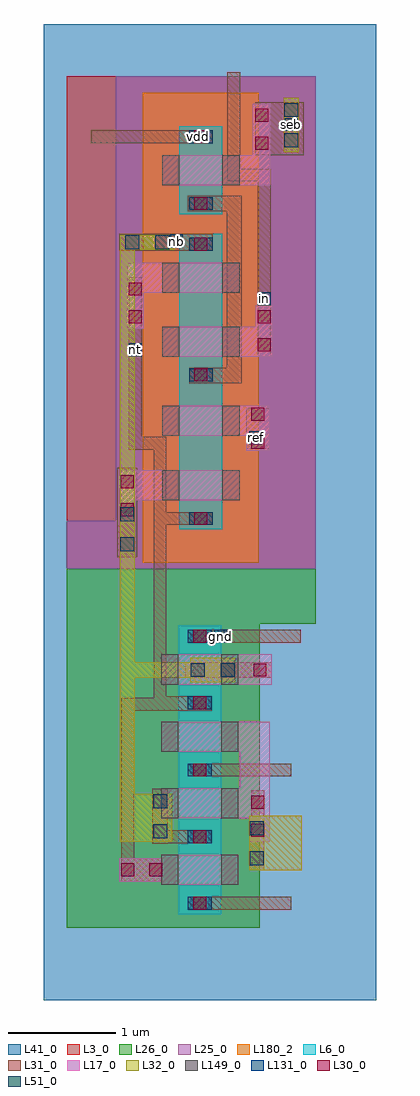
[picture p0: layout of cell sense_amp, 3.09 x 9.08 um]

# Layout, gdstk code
from math import pi, radians
import gdstk
lib = gdstk.Library(unit=1e-6, precision=1e-09)
def R(c, l, rs):  # rectangles x0, y0, x1, y1
    for r in rs: c.add(gdstk.rectangle(r[:2], r[2:], *l))
L3_0 = (3, 0)
L6_0 = (6, 0)
L17_0 = (17, 0)
L25_0 = (25, 0)
L26_0 = (26, 0)
L30_0 = (30, 0)
L31_0 = (31, 0)
L32_0 = (32, 0)
L41_0 = (41, 0)
L51_0 = (51, 0)
L131_0 = (131, 0)
L149_0 = (149, 0)
L180_2 = (180, 2)

pc_ct = lib.new_cell('pc_ct')
R(pc_ct, L30_0, [(0,0,0.12,0.12)])

nsvt25_cdns_576022527390 = lib.new_cell('nsvt25_CDNS_576022527390')
R(nsvt25_cdns_576022527390, L6_0, [(-0.27,0,0,0.4), (-0.27,0,0.55,0.4), (0.28,0,0.55,0.4)])
R(nsvt25_cdns_576022527390, L17_0, [(0,-0.16,0.28,0.56)])
R(nsvt25_cdns_576022527390, L26_0, [(-0.4,-0.36,0.68,0.76)])
R(nsvt25_cdns_576022527390, L31_0, [(-0.23,0.09,-0.11,0.31), (0.39,0.09,0.51,0.31)])
R(nsvt25_cdns_576022527390, L41_0, [(-0.54,-0.34,0.82,0.74)])
R(nsvt25_cdns_576022527390, L131_0, [(-0.23,0.09,-0.11,0.31), (0.39,0.09,0.51,0.31)])
R(nsvt25_cdns_576022527390, L149_0, [(0,-0.16,0.28,0), (0,0.4,0.28,0.56)])
r = gdstk.Reference(pc_ct, (0.39,0.14)); r.repetition = gdstk.Repetition(1, 1, v1=(0.26,0), v2=(0,0.26)); nsvt25_cdns_576022527390.add(r)
r = gdstk.Reference(pc_ct, (-0.23,0.14)); r.repetition = gdstk.Repetition(1, 1, v1=(0.26,0), v2=(0,0.26)); nsvt25_cdns_576022527390.add(r)
nsvt25_cdns_576022527390.add(gdstk.Label('d', (0.28,0), layer=6, texttype=0))
nsvt25_cdns_576022527390.add(gdstk.Label('s', (0,0), layer=6, texttype=0))
nsvt25_cdns_576022527390.add(gdstk.Label('d', (0.415,0.2), layer=127, texttype=0))
nsvt25_cdns_576022527390.add(gdstk.Label('s', (-0.135,0.2), layer=127, texttype=0))
nsvt25_cdns_576022527390.add(gdstk.Label('d', (0.45,0.2), layer=131, texttype=0))
nsvt25_cdns_576022527390.add(gdstk.Label('s', (-0.17,0.2), layer=131, texttype=0))
nsvt25_cdns_576022527390.add(gdstk.Label('g', (0.14,0.48), layer=149, texttype=0))
nsvt25_cdns_576022527390.add(gdstk.Label('g', (0.14,-0.08), layer=149, texttype=0))

psvt25_cdns_576022527391 = lib.new_cell('psvt25_CDNS_576022527391')
R(psvt25_cdns_576022527391, L3_0, [(-0.58,-0.34,0.86,0.74)])
R(psvt25_cdns_576022527391, L6_0, [(-0.27,0,0,0.4), (-0.27,0,0.55,0.4), (0.28,0,0.55,0.4)])
R(psvt25_cdns_576022527391, L17_0, [(0,-0.16,0.28,0.56)])
R(psvt25_cdns_576022527391, L31_0, [(-0.23,0.09,-0.11,0.31)])
R(psvt25_cdns_576022527391, L41_0, [(-0.58,-0.34,0.86,0.74)])
R(psvt25_cdns_576022527391, L131_0, [(-0.23,0.09,-0.11,0.31)])
R(psvt25_cdns_576022527391, L149_0, [(0,-0.16,0.28,0), (0,0.4,0.28,0.56)])
R(psvt25_cdns_576022527391, L180_2, [(-0.58,-0.34,0.86,0.74)])
r = gdstk.Reference(pc_ct, (-0.23,0.14)); r.repetition = gdstk.Repetition(1, 1, v1=(0.26,0), v2=(0,0.26)); psvt25_cdns_576022527391.add(r)
psvt25_cdns_576022527391.add(gdstk.Label('d', (0.28,0), layer=6, texttype=0))
psvt25_cdns_576022527391.add(gdstk.Label('s', (0,0), layer=6, texttype=0))
psvt25_cdns_576022527391.add(gdstk.Label('d', (0.415,0.2), layer=127, texttype=0))
psvt25_cdns_576022527391.add(gdstk.Label('s', (-0.135,0.2), layer=127, texttype=0))
psvt25_cdns_576022527391.add(gdstk.Label('s', (-0.17,0.2), layer=131, texttype=0))
psvt25_cdns_576022527391.add(gdstk.Label('g', (0.14,0.48), layer=149, texttype=0))
psvt25_cdns_576022527391.add(gdstk.Label('g', (0.14,-0.08), layer=149, texttype=0))
psvt25_cdns_576022527391.add(gdstk.Label('b', (0.14,0.2), layer=180, texttype=2))

psvt25_cdns_576022527392 = lib.new_cell('psvt25_CDNS_576022527392')
R(psvt25_cdns_576022527392, L6_0, [(-0.27,0,0,0.4), (-0.27,0,0.55,0.4), (0.28,0,0.55,0.4)])
R(psvt25_cdns_576022527392, L17_0, [(0,-0.16,0.28,0.56)])
R(psvt25_cdns_576022527392, L31_0, [(0.39,0.09,0.51,0.31)])
R(psvt25_cdns_576022527392, L41_0, [(-0.58,-0.34,0.86,0.74)])
R(psvt25_cdns_576022527392, L131_0, [(0.39,0.09,0.51,0.31)])
R(psvt25_cdns_576022527392, L149_0, [(0,-0.16,0.28,0), (0,0.4,0.28,0.56)])
R(psvt25_cdns_576022527392, L180_2, [(-0.58,-0.34,0.86,0.74)])
r = gdstk.Reference(pc_ct, (0.39,0.14)); r.repetition = gdstk.Repetition(1, 1, v1=(0.26,0), v2=(0,0.26)); psvt25_cdns_576022527392.add(r)
psvt25_cdns_576022527392.add(gdstk.Label('d', (0.28,0), layer=6, texttype=0))
psvt25_cdns_576022527392.add(gdstk.Label('s', (0,0), layer=6, texttype=0))
psvt25_cdns_576022527392.add(gdstk.Label('d', (0.415,0.2), layer=127, texttype=0))
psvt25_cdns_576022527392.add(gdstk.Label('s', (-0.135,0.2), layer=127, texttype=0))
psvt25_cdns_576022527392.add(gdstk.Label('d', (0.45,0.2), layer=131, texttype=0))
psvt25_cdns_576022527392.add(gdstk.Label('g', (0.14,0.48), layer=149, texttype=0))
psvt25_cdns_576022527392.add(gdstk.Label('g', (0.14,-0.08), layer=149, texttype=0))
psvt25_cdns_576022527392.add(gdstk.Label('b', (0.14,0.2), layer=180, texttype=2))

psvt25_cdns_576022527393 = lib.new_cell('psvt25_CDNS_576022527393')
R(psvt25_cdns_576022527393, L6_0, [(-0.27,0,0,0.4), (-0.27,0,0.55,0.4), (0.28,0,0.55,0.4)])
R(psvt25_cdns_576022527393, L17_0, [(0,-0.16,0.28,0.56)])
R(psvt25_cdns_576022527393, L31_0, [(-0.23,0.09,-0.11,0.31), (0.39,0.09,0.51,0.31)])
R(psvt25_cdns_576022527393, L41_0, [(-0.58,-0.34,0.86,0.74)])
R(psvt25_cdns_576022527393, L131_0, [(-0.23,0.09,-0.11,0.31), (0.39,0.09,0.51,0.31)])
R(psvt25_cdns_576022527393, L149_0, [(0,-0.16,0.28,0), (0,0.4,0.28,0.56)])
R(psvt25_cdns_576022527393, L180_2, [(-0.58,-0.34,0.86,0.74)])
r = gdstk.Reference(pc_ct, (0.39,0.14)); r.repetition = gdstk.Repetition(1, 1, v1=(0.26,0), v2=(0,0.26)); psvt25_cdns_576022527393.add(r)
r = gdstk.Reference(pc_ct, (-0.23,0.14)); r.repetition = gdstk.Repetition(1, 1, v1=(0.26,0), v2=(0,0.26)); psvt25_cdns_576022527393.add(r)
psvt25_cdns_576022527393.add(gdstk.Label('d', (0.28,0), layer=6, texttype=0))
psvt25_cdns_576022527393.add(gdstk.Label('s', (0,0), layer=6, texttype=0))
psvt25_cdns_576022527393.add(gdstk.Label('d', (0.415,0.2), layer=127, texttype=0))
psvt25_cdns_576022527393.add(gdstk.Label('s', (-0.135,0.2), layer=127, texttype=0))
psvt25_cdns_576022527393.add(gdstk.Label('d', (0.45,0.2), layer=131, texttype=0))
psvt25_cdns_576022527393.add(gdstk.Label('s', (-0.17,0.2), layer=131, texttype=0))
psvt25_cdns_576022527393.add(gdstk.Label('g', (0.14,0.48), layer=149, texttype=0))
psvt25_cdns_576022527393.add(gdstk.Label('g', (0.14,-0.08), layer=149, texttype=0))
psvt25_cdns_576022527393.add(gdstk.Label('b', (0.14,0.2), layer=180, texttype=2))

psvt25_cdns_576022527394 = lib.new_cell('psvt25_CDNS_576022527394')
R(psvt25_cdns_576022527394, L3_0, [(-0.58,-0.34,0.86,0.74)])
R(psvt25_cdns_576022527394, L6_0, [(-0.27,0,0,0.4), (-0.27,0,0.55,0.4), (0.28,0,0.55,0.4)])
R(psvt25_cdns_576022527394, L17_0, [(0,-0.16,0.28,0.56)])
R(psvt25_cdns_576022527394, L41_0, [(-0.58,-0.34,0.86,0.74)])
R(psvt25_cdns_576022527394, L149_0, [(0,-0.16,0.28,0), (0,0.4,0.28,0.56)])
R(psvt25_cdns_576022527394, L180_2, [(-0.58,-0.34,0.86,0.74)])
psvt25_cdns_576022527394.add(gdstk.Label('d', (0.28,0), layer=6, texttype=0))
psvt25_cdns_576022527394.add(gdstk.Label('s', (0,0), layer=6, texttype=0))
psvt25_cdns_576022527394.add(gdstk.Label('d', (0.415,0.2), layer=127, texttype=0))
psvt25_cdns_576022527394.add(gdstk.Label('s', (-0.135,0.2), layer=127, texttype=0))
psvt25_cdns_576022527394.add(gdstk.Label('g', (0.14,0.48), layer=149, texttype=0))
psvt25_cdns_576022527394.add(gdstk.Label('g', (0.14,-0.08), layer=149, texttype=0))
psvt25_cdns_576022527394.add(gdstk.Label('b', (0.14,0.2), layer=180, texttype=2))

nsvt25_cdns_576022527395 = lib.new_cell('nsvt25_CDNS_576022527395')
R(nsvt25_cdns_576022527395, L6_0, [(-0.27,0,0,0.4), (-0.27,0,0.55,0.4), (0.28,0,0.55,0.4)])
R(nsvt25_cdns_576022527395, L17_0, [(0,-0.16,0.28,0.56)])
R(nsvt25_cdns_576022527395, L26_0, [(-0.4,-0.36,0.68,0.76)])
R(nsvt25_cdns_576022527395, L31_0, [(0.39,0.09,0.51,0.31)])
R(nsvt25_cdns_576022527395, L41_0, [(-0.54,-0.34,0.82,0.74)])
R(nsvt25_cdns_576022527395, L131_0, [(0.39,0.09,0.51,0.31)])
R(nsvt25_cdns_576022527395, L149_0, [(0,-0.16,0.28,0), (0,0.4,0.28,0.56)])
r = gdstk.Reference(pc_ct, (0.39,0.14)); r.repetition = gdstk.Repetition(1, 1, v1=(0.26,0), v2=(0,0.26)); nsvt25_cdns_576022527395.add(r)
nsvt25_cdns_576022527395.add(gdstk.Label('d', (0.28,0), layer=6, texttype=0))
nsvt25_cdns_576022527395.add(gdstk.Label('s', (0,0), layer=6, texttype=0))
nsvt25_cdns_576022527395.add(gdstk.Label('d', (0.415,0.2), layer=127, texttype=0))
nsvt25_cdns_576022527395.add(gdstk.Label('s', (-0.135,0.2), layer=127, texttype=0))
nsvt25_cdns_576022527395.add(gdstk.Label('d', (0.45,0.2), layer=131, texttype=0))
nsvt25_cdns_576022527395.add(gdstk.Label('g', (0.14,0.48), layer=149, texttype=0))
nsvt25_cdns_576022527395.add(gdstk.Label('g', (0.14,-0.08), layer=149, texttype=0))

m1__po_cdns_576022527390 = lib.new_cell('M1__PO_CDNS_576022527390')
R(m1__po_cdns_576022527390, L17_0, [(-0.21,-0.11,0.21,0.11)])
R(m1__po_cdns_576022527390, L30_0, [(-0.19,-0.06,-0.07,0.06), (0.07,-0.06,0.19,0.06)])
R(m1__po_cdns_576022527390, L31_0, [(-0.19,-0.11,0.19,0.11)])

m2_m1_g_cdns_57602252739 = lib.new_cell('M2_M1_G_CDNS_576022527391')
R(m2_m1_g_cdns_57602252739, L31_0, [(-0.255,-0.07,0.255,0.07)])
R(m2_m1_g_cdns_57602252739, L32_0, [(-0.255,-0.07,0.255,0.07)])
R(m2_m1_g_cdns_57602252739, L51_0, [(-0.205,-0.065,-0.075,0.065), (0.075,-0.065,0.205,0.065)])

m1__po_cdns_576022527392 = lib.new_cell('M1__PO_CDNS_576022527392')
R(m1__po_cdns_576022527392, L17_0, [(-0.08,-0.24,0.08,0.24)])
R(m1__po_cdns_576022527392, L30_0, [(-0.06,-0.19,0.06,-0.07), (-0.06,0.07,0.06,0.19)])
R(m1__po_cdns_576022527392, L31_0, [(-0.06,-0.24,0.06,0.24)])

m2_m1_s_cdns_57602252739 = lib.new_cell('M2_M1_S_CDNS_576022527393')
R(m2_m1_s_cdns_57602252739, L31_0, [(-0.07,-0.255,0.07,0.255)])
R(m2_m1_s_cdns_57602252739, L32_0, [(-0.115,-0.21,0.115,0.21)])
R(m2_m1_s_cdns_57602252739, L51_0, [(-0.065,-0.205,0.065,-0.075), (-0.065,0.075,0.065,0.205)])

c_m2_m1_s_cdns_57602252739 = lib.new_cell('M2_M1_S_CDNS_576022527394')
R(c_m2_m1_s_cdns_57602252739, L31_0, [(-0.21,-0.115,0.21,0.115)])
R(c_m2_m1_s_cdns_57602252739, L32_0, [(-0.255,-0.07,0.255,0.07)])
R(c_m2_m1_s_cdns_57602252739, L51_0, [(-0.205,-0.065,-0.075,0.065), (0.075,-0.065,0.205,0.065)])

m1__po_cdns_576022527395 = lib.new_cell('M1__PO_CDNS_576022527395')
R(m1__po_cdns_576022527395, L17_0, [(-0.08,-0.11,0.08,0.11)])
R(m1__po_cdns_576022527395, L30_0, [(-0.06,-0.06,0.06,0.06)])
R(m1__po_cdns_576022527395, L31_0, [(-0.06,-0.11,0.06,0.11)])

sense_amp = lib.new_cell('sense_amp')
R(sense_amp, L3_0, [(0,-4.46,2.32,0.125)])
R(sense_amp, L17_0, [(1.86,-7,1.89,-6.98), (1.85,-6.98,1.89,-6.78), (1.6,-5.535,1.91,-5.255), (0.64,-3.82,0.89,-3.54), (1.61,-3.22,1.67,-2.94), (1.75,-2.485,1.76,-2.205), (0.72,-1.89,0.89,-1.61), (0.56,-1.745,0.72,-1.61)])
R(sense_amp, L25_0, [(0,-4.46,2.32,-4.01), (0.46,-4.01,2.32,0.125)])
R(sense_amp, L26_0, [(0,-7.8,1.8,-4.97), (0,-4.97,2.32,-4.46)])
R(sense_amp, L31_0, [(1.17,-5.78,1.35,-5.765), (0.9,-5.66,1.13,-5.65), (0.9,-5.65,1.13,-5.645), (0.47,-4.35,0.66,-3.8), (0.47,-3.8,0.66,-3.52), (1.14,-2.73,1.36,-2.59), (0.49,-1.5,1.36,-1.34), (1.13,-1.13,1.275,-0.99), (1.875,-0.61,1.975,-0.12), (1.975,-0.61,2.205,-0.54), (2.03,-0.61,2.15,-0.54), (1.755,-0.13,1.875,-0.12), (1.495,-0.01,1.616,0.16)])
R(sense_amp, L32_0, [(1.84,-7.265,2.19,-6.755), (0.635,-7,0.755,-6.55), (0.755,-7,0.985,-6.97)])
R(sense_amp, L41_0, [(-0.21,-8.47,2.88,0.61)])
R(sense_amp, L131_0, [(1.375,-5.145,1.495,-5.025), (1.7,-3.3,1.82,-3.18), (0.58,-2.48,0.7,-2.36), (1.78,-2.005,1.9,-1.885), (0.96,-1.47,1.08,-1.35), (1.17,-0.5,1.29,-0.38), (2.03,-0.385,2.15,-0.265)])
sense_amp.add(gdstk.FlexPath([(1.8,-5.4),(1.36,-5.4)], 0.14, ends=(0.11, 0), simple_path=True, layer=31, datatype=0))  # L31_0
sense_amp.add(gdstk.FlexPath([(1.555,-0.795),(1.555,-0.01)], 0.12, ends=(0.06, 0), simple_path=True, layer=31, datatype=0))  # L31_0
sense_amp.add(gdstk.FlexPath([(1.295,-6.33),(2.09,-6.33)], 0.12, ends="flush", simple_path=True, layer=31, datatype=0))  # L31_0
sense_amp.add(gdstk.FlexPath([(1.315,-7.57),(2.09,-7.57)], 0.12, ends="flush", simple_path=True, layer=31, datatype=0))  # L31_0
sense_amp.add(gdstk.FlexPath([(1.84,-0.795),(1.555,-0.795)], 0.12, ends="extended", simple_path=True, layer=31, datatype=0))  # L31_0
sense_amp.add(gdstk.FlexPath([(1.14,-0.44),(0.23,-0.44)], 0.12, ends="flush", simple_path=True, layer=31, datatype=0))  # L31_0
sense_amp.add(gdstk.FlexPath([(1.325,-5.085),(2.18,-5.085)], 0.12, ends="flush", simple_path=True, layer=31, datatype=0))  # L31_0
sense_amp.add(gdstk.FlexPath([(0.87,-5.72),(1.17,-5.72)], 0.12, ends=(0.06, 0), simple_path=True, layer=31, datatype=0))  # L31_0
sense_amp.add(gdstk.FlexPath([(1.84,-2.005),(1.84,-0.795)], 0.12, ends=(0, 0.06), simple_path=True, layer=31, datatype=0))  # L31_0
sense_amp.add(gdstk.FlexPath([(0.87,-3.99),(0.87,-5.72)], 0.12, ends="extended", simple_path=True, layer=31, datatype=0))  # L31_0
sense_amp.add(gdstk.FlexPath([(1.275,-1.06),(1.56,-1.06)], 0.14, ends=(0, 0.07), simple_path=True, layer=31, datatype=0))  # L31_0
sense_amp.add(gdstk.FlexPath([(1.56,-1.06),(1.56,-2.66)], 0.14, ends="extended", simple_path=True, layer=31, datatype=0))  # L31_0
sense_amp.add(gdstk.FlexPath([(1.56,-2.66),(1.36,-2.66)], 0.14, ends=(0.07, 0), simple_path=True, layer=31, datatype=0))  # L31_0
sense_amp.add(gdstk.FlexPath([(1.145,-6.95),(0.87,-6.95)], 0.12, ends=(0, 0.06), simple_path=True, layer=31, datatype=0))  # L31_0
sense_amp.add(gdstk.FlexPath([(0.64,-1.85),(0.64,-3.29)], 0.12, ends=(0, 0.06), simple_path=True, layer=31, datatype=0))  # L31_0
sense_amp.add(gdstk.FlexPath([(0.87,-3.99),(1.14,-3.99)], 0.12, ends=(0.06, 0), simple_path=True, layer=31, datatype=0))  # L31_0
sense_amp.add(gdstk.FlexPath([(1.14,-1.44),(0.5,-1.44)], 0.12, ends="flush", simple_path=True, layer=31, datatype=0))  # L31_0
sense_amp.add(gdstk.FlexPath([(0.64,-3.29),(0.87,-3.29)], 0.12, ends="extended", simple_path=True, layer=31, datatype=0))  # L31_0
sense_amp.add(gdstk.FlexPath([(0.87,-3.29),(0.87,-3.99)], 0.12, ends="extended", simple_path=True, layer=31, datatype=0))  # L31_0
sense_amp.add(gdstk.FlexPath([(0.87,-5.72),(0.57,-5.72)], 0.12, ends="extended", simple_path=True, layer=31, datatype=0))  # L31_0
sense_amp.add(gdstk.FlexPath([(0.57,-5.72),(0.57,-7.26)], 0.12, ends="extended", simple_path=True, layer=31, datatype=0))  # L31_0
sense_amp.add(gdstk.FlexPath([(0.57,-7.26),(0.7,-7.26)], 0.12, ends=(0.06, 0), simple_path=True, layer=31, datatype=0))  # L31_0
sense_amp.add(gdstk.FlexPath([(0.87,-6.95),(0.87,-6.76)], 0.12, ends=(0.06, 0), simple_path=True, layer=31, datatype=0))  # L31_0
sense_amp.add(gdstk.FlexPath([(1.61,-0.75),(1.895,-0.75)], 0.28, ends="flush", simple_path=True, layer=17, datatype=0))  # L17_0
sense_amp.add(gdstk.FlexPath([(1.61,-2.345),(1.75,-2.345)], 0.28, ends="flush", simple_path=True, layer=17, datatype=0))  # L17_0
sense_amp.add(gdstk.FlexPath([(1.6,-6.02),(1.75,-6.02)], 0.28, ends=(0, 0.14), simple_path=True, layer=17, datatype=0))  # L17_0
sense_amp.add(gdstk.FlexPath([(1.75,-6.02),(1.75,-6.64)], 0.28, ends="extended", simple_path=True, layer=17, datatype=0))  # L17_0
sense_amp.add(gdstk.FlexPath([(1.75,-6.64),(1.6,-6.64)], 0.28, ends=(0.14, 0), simple_path=True, layer=17, datatype=0))  # L17_0
sense_amp.add(gdstk.FlexPath([(0.565,-1.42),(0.565,-5.4)], 0.14, ends="extended", simple_path=True, layer=32, datatype=0))  # L32_0
sense_amp.add(gdstk.FlexPath([(1.36,-5.4),(1.36,-5.41)], 0.14, ends=(0.07, 0), simple_path=True, layer=32, datatype=0))  # L32_0
sense_amp.add(gdstk.FlexPath([(0.565,-5.4),(1.36,-5.4)], 0.14, ends="extended", simple_path=True, layer=32, datatype=0))  # L32_0
sense_amp.add(gdstk.FlexPath([(0.565,-5.4),(0.565,-7)], 0.14, ends=(0.07, 0), simple_path=True, layer=32, datatype=0))  # L32_0
sense_amp.add(gdstk.FlexPath([(0.75,-1.42),(0.565,-1.42)], 0.14, ends=(0, 0.07), simple_path=True, layer=32, datatype=0))  # L32_0
sense_amp.add(gdstk.Reference(nsvt25_cdns_576022527390, (1.04,-6.5), rotation=3*pi/2))
sense_amp.add(gdstk.Reference(nsvt25_cdns_576022527390, (1.04,-5.255), rotation=3*pi/2))
sense_amp.add(gdstk.Reference(nsvt25_cdns_576022527390, (1.04,-7.12), rotation=3*pi/2))
sense_amp.add(gdstk.Reference(psvt25_cdns_576022527391, (1.45,-2.485), rotation=pi/2))
sense_amp.add(gdstk.Reference(psvt25_cdns_576022527391, (1.05,-1.61), rotation=3*pi/2))
sense_amp.add(gdstk.Reference(psvt25_cdns_576022527392, (1.05,-3.54), rotation=3*pi/2))
sense_amp.add(gdstk.Reference(psvt25_cdns_576022527393, (1.05,-0.61), rotation=3*pi/2))
sense_amp.add(gdstk.Reference(psvt25_cdns_576022527394, (1.45,-3.22), rotation=pi/2))
sense_amp.add(gdstk.Reference(nsvt25_cdns_576022527395, (1.04,-5.88), rotation=3*pi/2))
sense_amp.add(gdstk.Reference(m1__po_cdns_576022527390, (1.78,-3.15), rotation=pi/2))
sense_amp.add(gdstk.Reference(m1__po_cdns_576022527390, (0.7,-7.26)))
sense_amp.add(gdstk.Reference(m2_m1_g_cdns_57602252739, (1.77,-7.01), rotation=pi/2))
sense_amp.add(gdstk.Reference(m2_m1_g_cdns_57602252739, (0.565,-4.09), rotation=pi/2))
sense_amp.add(gdstk.Reference(m2_m1_g_cdns_57602252739, (0.75,-1.42)))
sense_amp.add(gdstk.Reference(m1__po_cdns_576022527392, (1.815,-0.37), rotation=pi))
sense_amp.add(gdstk.Reference(m1__po_cdns_576022527392, (1.78,-6.76), rotation=pi))
sense_amp.add(gdstk.Reference(m1__po_cdns_576022527392, (1.84,-2.245), rotation=pi))
sense_amp.add(gdstk.Reference(m1__po_cdns_576022527392, (0.64,-1.985)))
sense_amp.add(gdstk.Reference(m1__po_cdns_576022527392, (0.565,-3.78)))
sense_amp.add(gdstk.Reference(m2_m1_s_cdns_57602252739, (1.36,-5.4), rotation=pi/2))
sense_amp.add(gdstk.Reference(m2_m1_s_cdns_57602252739, (0.87,-6.76)))
sense_amp.add(gdstk.Reference(c_m2_m1_s_cdns_57602252739, (2.09,-0.33), rotation=pi/2))
sense_amp.add(gdstk.Reference(m1__po_cdns_576022527395, (1.8,-5.4), rotation=3*pi/2))
sense_amp.add(gdstk.Label('nt', (0.64,-2.42), layer=131, texttype=0))
sense_amp.add(gdstk.Label('nb', (1.02,-1.41), layer=131, texttype=0))
sense_amp.add(gdstk.Label('seb', (2.09,-0.325), layer=131, texttype=0))
sense_amp.add(gdstk.Label('vdd', (1.23,-0.44), layer=131, texttype=0))
sense_amp.add(gdstk.Label('gnd', (1.435,-5.085), layer=131, texttype=0))
sense_amp.add(gdstk.Label('ref', (1.76,-3.24), layer=131, texttype=0))
sense_amp.add(gdstk.Label('in', (1.84,-1.945), layer=131, texttype=0))

lib.write_gds('sense_amp.gds')
